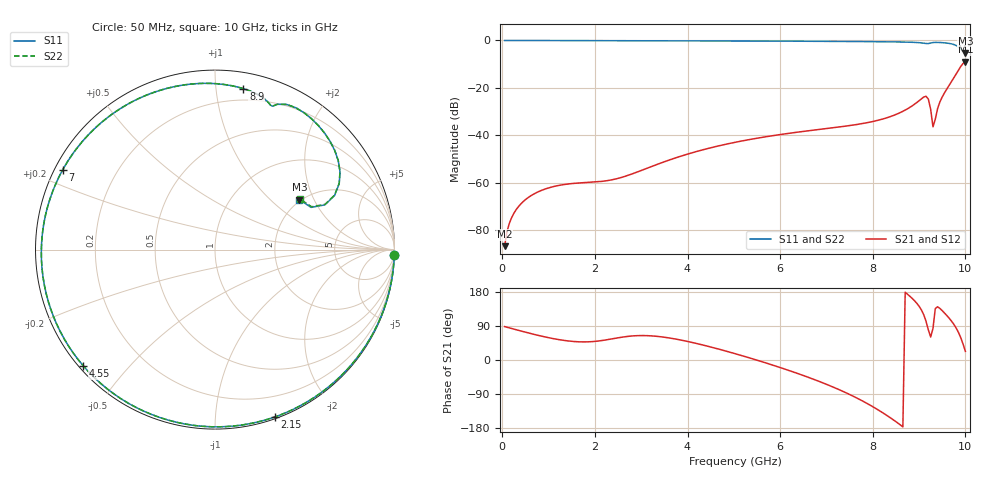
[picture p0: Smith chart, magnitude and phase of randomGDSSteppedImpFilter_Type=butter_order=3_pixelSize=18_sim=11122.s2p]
! freq	dB(S11)	phase(S11)	dB(S12)	phase(S12)
!  dB(S21)	phase(S21)	dB(S22)	phase(S22)
!S-par simulation data
#  GHz  S  DB  R 50
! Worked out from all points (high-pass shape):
!   200 points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, 50 MHz to 10 GHz, reference 50 ohm
!   highest |S21| = -8.97 dB at 10 GHz (marker M1); lowest = -86.7 dB at 50 MHz (marker M2)
!   |S21| within 3 dB of the highest: 9.868 GHz to end of sweep
!   lowest |S11| = -5.2 dB at 10 GHz (marker M3), VSWR 3.41, Z = 97.9 + j77.8 ohm
!   |S11| at or under -10 dB: nowhere
!   |S22| runs from -5.2 to 0.0 dB; largest |S21 - S12| = 0
!   S11 on the Smith chart (normalised r, x): 50 MHz: 1, -66; 2.15 GHz: 0.01, -1.42; 4.55 GHz: 0.01, -0.38; 7 GHz: 0.02, +0.25; 8.9 GHz: 0.11, +1.19; 10 GHz: 1.96, +1.56
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0.05  -0.00 -1.7  -86.74 88.2  -86.74 88.2  -0.00 -1.7
0.1  -0.01 -3.4  -80.75 86.5  -80.75 86.5  -0.01 -3.4
0.35  -0.01 -11.9  -70.04 78.2  -70.04 78.2  -0.01 -11.9
0.65  -0.02 -22.0  -65.09 68.7  -65.09 68.7  -0.02 -22.0
1.75  -0.07 -57.9  -59.98 47.7  -59.98 47.7  -0.07 -57.9
2.15  -0.09 -70.3  -59.42 51.3  -59.42 51.3  -0.09 -70.3
3.4  -0.13 -107.0  -51.85 61.6  -51.85 61.6  -0.13 -107.0
4.55  -0.19 -138.5  -45.02 32.8  -45.02 32.8  -0.19 -138.5
5.05  -0.21 -152.0  -42.86 15.9  -42.86 15.9  -0.21 -152.0
5.9  -0.27 -175.2  -39.97 -15.9  -39.97 -15.9  -0.27 -175.3
6.7  -0.34 161.6  -37.87 -49.8  -37.87 -49.8  -0.34 161.6
7  -0.37 152.4  -37.15 -64.1  -37.15 -64.1  -0.37 152.4
8.35  -0.57 104.4  -32.31 -150.0  -32.31 -150.0  -0.57 104.4
8.9  -0.81 80.0  -26.92 156.6  -26.92 156.6  -0.81 80.0
9.1  -1.15 70.5  -23.85 119.6  -23.85 119.6  -1.15 70.6
9.2  -1.31 68.1  -24.71 79.3  -24.71 79.3  -1.30 68.2
9.25  -1.10 66.7  -29.00 60.7  -29.00 60.7  -1.09 66.7
9.3  -0.90 63.7  -36.44 83.3  -36.44 83.3  -0.89 63.8
9.45  -0.86 53.4  -25.90 136.1  -25.90 136.1  -0.86 53.5
9.75  -1.72 31.9  -15.76 94.2  -15.76 94.2  -1.71 32.0
9.9  -3.60 22.1  -10.97 58.8  -10.97 58.8  -3.56 22.4
10  -5.25 30.6  -8.97 22.7  -8.97 22.7  -5.17 30.6
